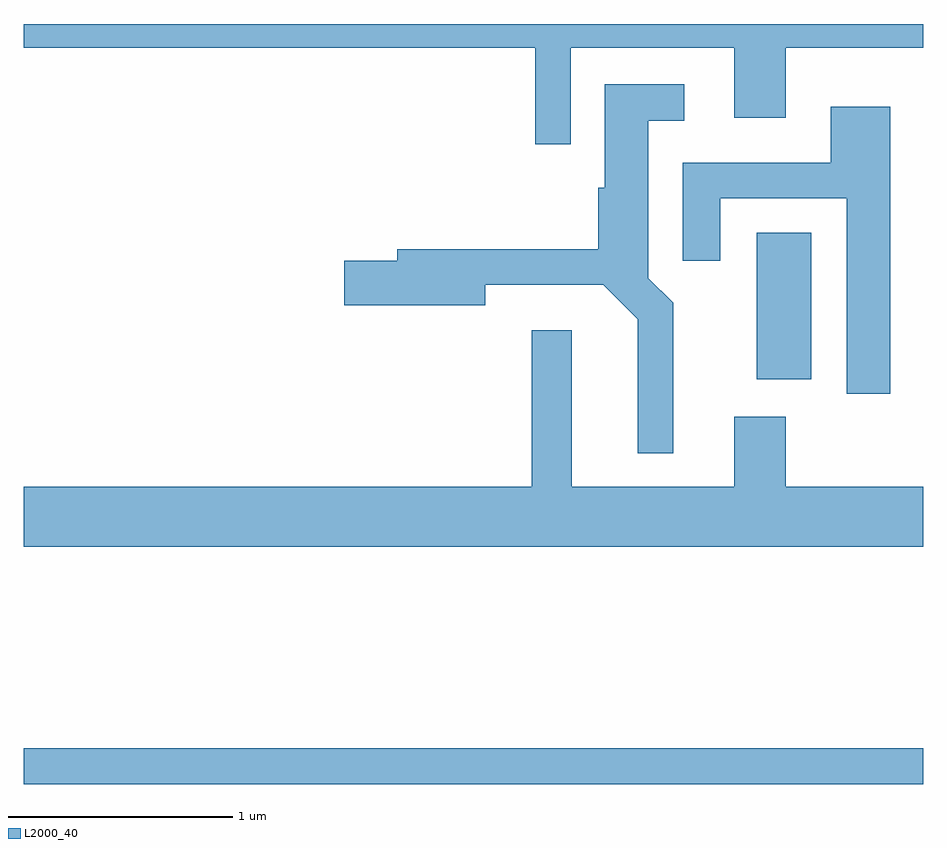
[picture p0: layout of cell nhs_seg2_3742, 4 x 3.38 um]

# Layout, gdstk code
import gdstk
lib = gdstk.Library(unit=1e-6, precision=1e-09)
def R(c, l, rs):  # rectangles x0, y0, x1, y1
    for r in rs: c.add(gdstk.rectangle(r[:2], r[2:], *l))
def P(c, l, *ps):  # polygons
    for p in ps: c.add(gdstk.Polygon(p, *l))
L2000_40 = (2000, 40)

nhs_seg2_3742 = lib.new_cell('nhs_seg2_3742')
R(nhs_seg2_3742, L2000_40, [(295.611,998.421,299.611,998.579), (298.871,1000.221,299.114,1000.874)])
P(nhs_seg2_3742, L2000_40, [(298.044,1001.696),(298.771,1001.696),(298.771,1001.386),(298.999,1001.386),(298.999,1001.696),(299.611,1001.696),(299.611,1001.802),(295.611,1001.802),(295.611,1001.696),(297.886,1001.696),(297.886,1001.268),(298.044,1001.268)],
  [(298.499,1000.562),(298.389,1000.672),(298.389,1001.371),(298.548,1001.371),(298.548,1001.534),(298.196,1001.534),(298.196,1001.074),(298.166,1001.074),(298.166,1000.799),(297.271,1000.799),(297.271,1000.749),(297.036,1000.749),(297.036,1000.551),(297.664,1000.551),(297.664,1000.641),(298.189,1000.641),(298.341,1000.489),(298.341,999.893),(298.499,999.893)],
  [(299.464,1001.434),(299.201,1001.434),(299.201,1001.184),(298.541,1001.184),(298.541,1000.748),(298.709,1000.748),(298.709,1001.026),(299.271,1001.026),(299.271,1000.156),(299.464,1000.156)],
  [(299.611,999.744),(298.999,999.744),(298.999,1000.054),(298.771,1000.054),(298.771,999.744),(298.049,999.744),(298.049,1000.439),(297.871,1000.439),(297.871,999.744),(295.611,999.744),(295.611,999.476),(299.611,999.476)])

lib.write_gds('nhs_seg2_3742.gds')
